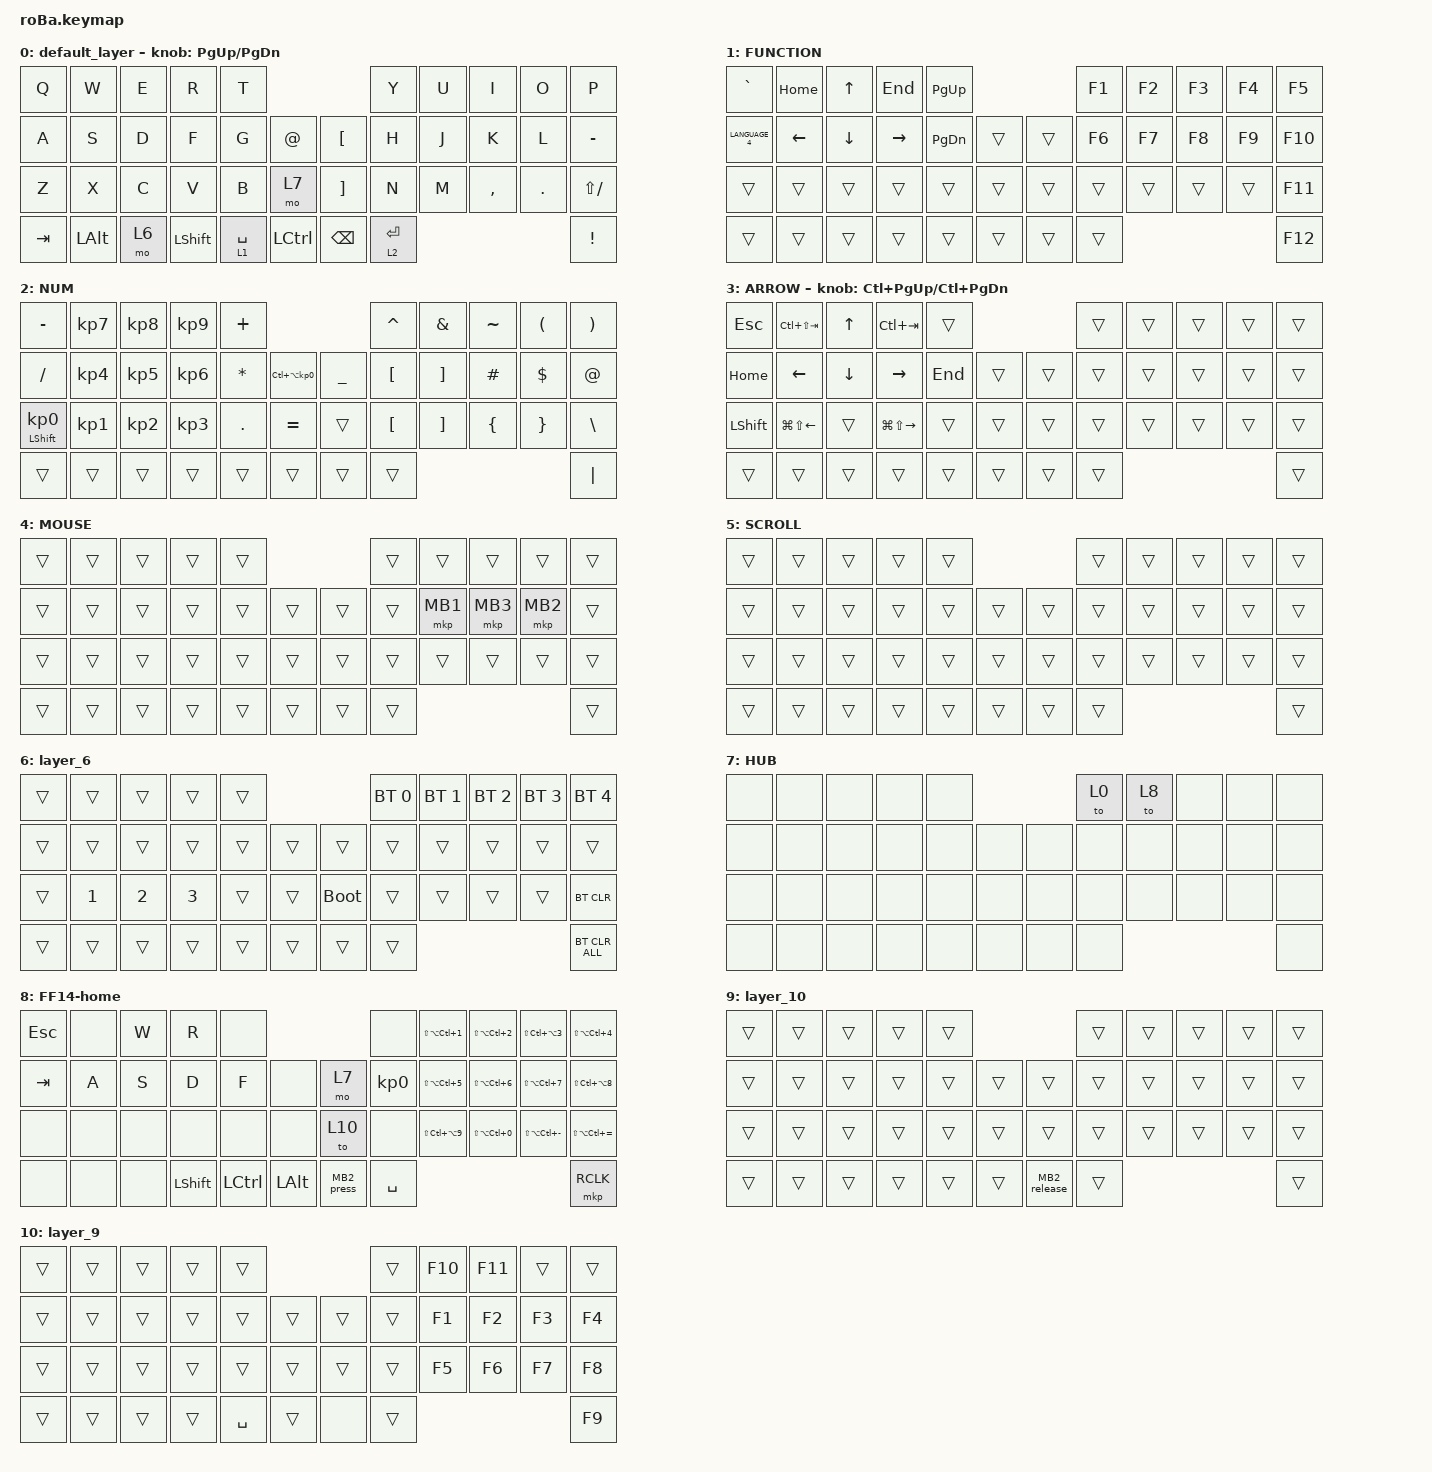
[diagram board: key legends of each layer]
#include <behaviors.dtsi>
#include <dt-bindings/zmk/bt.h>
#include <dt-bindings/zmk/keys.h>
#include <dt-bindings/zmk/pointing.h>

&mt {
    flavor = "balanced";
    quick-tap-ms = <0>;
};

&trackball {
    automouse-layer = <4>;
    scroll-layers = <5>;

    // arrows {
    //     layers = <3>;
    //     bindings =
    //         <&kp RIGHT_ARROW>,
    //         <&kp LEFT_ARROW>,
    //         <&kp UP_ARROW>,
    //         <&kp DOWN_ARROW>;
    //     tick = <10>;
    //     wait-ms = <5>;
    //     tap-ms = <5>;
    // };
};

/ {
    combos {
        compatible = "zmk,combos";

        tab {
            bindings = <&kp TAB>;
            key-positions = <11 12>;
        };

        shift_tab {
            bindings = <&kp LS(TAB)>;
            key-positions = <12 13>;
        };

        muhennkann {
            bindings = <&to_layer_0 INT_MUHENKAN>;
            key-positions = <11 10>;
        };

        double_quotation {
            bindings = <&kp DOUBLE_QUOTES>;
            key-positions = <20 21>;
        };

        eq {
            bindings = <&kp EQUAL>;
            key-positions = <24 25>;
        };
    };

    macros {
        to_layer_0: to_layer_0 {
            compatible = "zmk,behavior-macro-one-param";
            #binding-cells = <1>;
            bindings = <&to 0 &macro_param_1to1 &kp MACRO_PLACEHOLDER>;
            label = "TO_LAYER_0";
        };

        MB2_press: MB2sticky {
            compatible = "zmk,behavior-macro";
            #binding-cells = <0>;
            bindings = <&macro_press>, <&mkp RCLK>, <&macro_tap>, <&tog 9>;

            label = "MB2STICKY";
        };

        MB2_release: MB2_release {
            compatible = "zmk,behavior-macro";
            #binding-cells = <0>;
            bindings = <&macro_release>, <&mkp RCLK>, <&macro_tap>, <&tog 9>;

            label = "MB2_RELEASE";
        };
    };

    behaviors {
        lt_to_layer_0: lt_to_layer_0 {
            compatible = "zmk,behavior-hold-tap";
            label = "LAYER_TAP_TO_0";
            bindings = <&mo>, <&to_layer_0>;

            #binding-cells = <2>;
            tapping-term-ms = <200>;
        };
    };

    keymap {
        compatible = "zmk,keymap";

        default_layer {
            bindings = <
&kp Q    &kp W         &kp E  &kp R           &kp T                                      &kp Y         &kp U  &kp I      &kp O    &kp P
&kp A    &kp S         &kp D  &kp F           &kp G        &kp AT         &kp LBKT       &kp H         &kp J  &kp K      &kp L    &kp MINUS
&kp Z    &kp X         &kp C  &kp V           &kp B        &mo 7          &kp RBKT       &kp N         &kp M  &kp COMMA  &kp DOT  &kp LS(SLASH)
&kp TAB  &kp LEFT_ALT  &mo 6  &kp LEFT_SHIFT  &lt 1 SPACE  &kp LCTRL      &kp BACKSPACE  &lt 2 RETURN                             &kp EXCL
            >;

            sensor-bindings = <&inc_dec_kp PG_UP PAGE_DOWN>;
        };

        FUNCTION {
            bindings = <
&kp GRAVE       &kp HOME  &kp UP    &kp END    &kp PG_UP                      &kp F1  &kp F2  &kp F3  &kp F4  &kp F5
&kp LANGUAGE_4  &kp LEFT  &kp DOWN  &kp RIGHT  &kp PG_DN  &trans      &trans  &kp F6  &kp F7  &kp F8  &kp F9  &kp F10
&trans          &trans    &trans    &trans     &trans     &trans      &trans  &trans  &trans  &trans  &trans  &kp F11
&trans          &trans    &trans    &trans     &trans     &trans      &trans  &trans                          &kp F12
            >;
        };

        NUM {
            bindings = <
&kp MINUS                   &kp KP_NUMBER_7  &kp KP_NUMBER_8  &kp KP_NUMBER_9  &kp PLUS                                                   &kp CARET         &kp AMPERSAND      &kp TILDE       &kp LEFT_PARENTHESIS  &kp RIGHT_PARENTHESIS
&kp SLASH                   &kp KP_NUMBER_4  &kp KP_NUMBER_5  &kp KP_NUMBER_6  &kp ASTERISK  &kp LC(LA(KP_NUMBER_0))      &kp UNDERSCORE  &kp LBKT          &kp RBKT           &kp HASH        &kp DOLLAR            &kp AT
&mt LEFT_SHIFT KP_NUMBER_0  &kp KP_NUMBER_1  &kp KP_NUMBER_2  &kp KP_NUMBER_3  &kp PERIOD    &kp EQUAL                    &trans          &kp LEFT_BRACKET  &kp RIGHT_BRACKET  &kp LEFT_BRACE  &kp RIGHT_BRACE       &kp BACKSLASH
&trans                      &trans           &trans           &trans           &trans        &trans                       &trans          &trans                                                                     &kp PIPE
            >;
        };

        ARROW {
            bindings = <
&kp ESCAPE      &kp LC(LS(TAB))         &kp UP_ARROW    &kp LC(TAB)              &trans                       &trans  &trans  &trans  &trans  &trans
&kp HOME        &kp LEFT_ARROW          &kp DOWN_ARROW  &kp RIGHT_ARROW          &kp END  &trans      &trans  &trans  &trans  &trans  &trans  &trans
&kp LEFT_SHIFT  &kp LG(LS(LEFT_ARROW))  &trans          &kp LG(LS(RIGHT_ARROW))  &trans   &trans      &trans  &trans  &trans  &trans  &trans  &trans
&trans          &trans                  &trans          &trans                   &trans   &trans      &trans  &trans                          &trans
            >;

            sensor-bindings = <&inc_dec_kp LC(PAGE_UP) LC(PAGE_DOWN)>;
        };

        MOUSE {
            bindings = <
&trans  &trans  &trans  &trans  &trans                      &trans  &trans    &trans    &trans    &trans
&trans  &trans  &trans  &trans  &trans  &trans      &trans  &trans  &mkp MB1  &mkp MB3  &mkp MB2  &trans
&trans  &trans  &trans  &trans  &trans  &trans      &trans  &trans  &trans    &trans    &trans    &trans
&trans  &trans  &trans  &trans  &trans  &trans      &trans  &trans                                &trans
            >;
        };

        SCROLL {
            bindings = <
&trans  &trans  &trans  &trans  &trans                      &trans  &trans  &trans  &trans  &trans
&trans  &trans  &trans  &trans  &trans  &trans      &trans  &trans  &trans  &trans  &trans  &trans
&trans  &trans  &trans  &trans  &trans  &trans      &trans  &trans  &trans  &trans  &trans  &trans
&trans  &trans  &trans  &trans  &trans  &trans      &trans  &trans                          &trans
            >;
        };

        layer_6 {
            bindings = <
&trans  &trans        &trans        &trans        &trans                           &bt BT_SEL 0  &bt BT_SEL 1  &bt BT_SEL 2  &bt BT_SEL 3  &bt BT_SEL 4
&trans  &trans        &trans        &trans        &trans  &trans      &trans       &trans        &trans        &trans        &trans        &trans
&trans  &kp NUMBER_1  &kp NUMBER_2  &kp NUMBER_3  &trans  &trans      &bootloader  &trans        &trans        &trans        &trans        &bt BT_CLR
&trans  &trans        &trans        &trans        &trans  &trans      &trans       &trans                                                  &bt BT_CLR_ALL
            >;
        };

        HUB {
            bindings = <
&none  &none  &none  &none  &none                    &to 0  &to 8  &none  &none  &none
&none  &none  &none  &none  &none  &none      &none  &none  &none  &none  &none  &none
&none  &none  &none  &none  &none  &none      &none  &none  &none  &none  &none  &none
&none  &none  &none  &none  &none  &none      &none  &none                       &none
            >;
        };

        FF14-home {
            bindings = <
&kp ESCAPE  &none  &kp W  &kp R           &none                                &none            &kp LS(LA(LC(N1)))  &kp LS(LA(LC(N2)))  &kp LS(LC(LA(N3)))     &kp LS(LA(LC(N4)))
&kp TAB     &kp A  &kp S  &kp D           &kp F      &none         &mo 7       &kp KP_NUMBER_0  &kp LS(LA(LC(N5)))  &kp LS(LA(LC(N6)))  &kp LS(LA(LC(N7)))     &kp LS(LC(LA(N8)))
&none       &none  &none  &none           &none      &none         &to 10      &none            &kp LS(LC(LA(N9)))  &kp LS(LA(LC(N0)))  &kp LS(LA(LC(MINUS)))  &kp LS(LA(LC(EQUAL)))
&none       &none  &none  &kp LEFT_SHIFT  &kp LCTRL  &kp LALT      &MB2_press  &kp SPACE                                                                       &mkp RCLK
            >;
        };

        layer_10 {
            bindings = <
&trans  &trans  &trans  &trans  &trans                            &trans  &trans  &trans  &trans  &trans
&trans  &trans  &trans  &trans  &trans  &trans      &trans        &trans  &trans  &trans  &trans  &trans
&trans  &trans  &trans  &trans  &trans  &trans      &trans        &trans  &trans  &trans  &trans  &trans
&trans  &trans  &trans  &trans  &trans  &trans      &MB2_release  &trans                          &trans
            >;
        };

        layer_9 {
            bindings = <
&trans  &trans  &trans  &trans  &trans                         &trans  &kp F10  &kp F11  &trans  &trans
&trans  &trans  &trans  &trans  &trans     &trans      &trans  &trans  &kp F1   &kp F2   &kp F3  &kp F4
&trans  &trans  &trans  &trans  &trans     &trans      &trans  &trans  &kp F5   &kp F6   &kp F7  &kp F8
&trans  &trans  &trans  &trans  &kp SPACE  &trans      &none   &trans                            &kp F9
            >;
        };
    };
};
